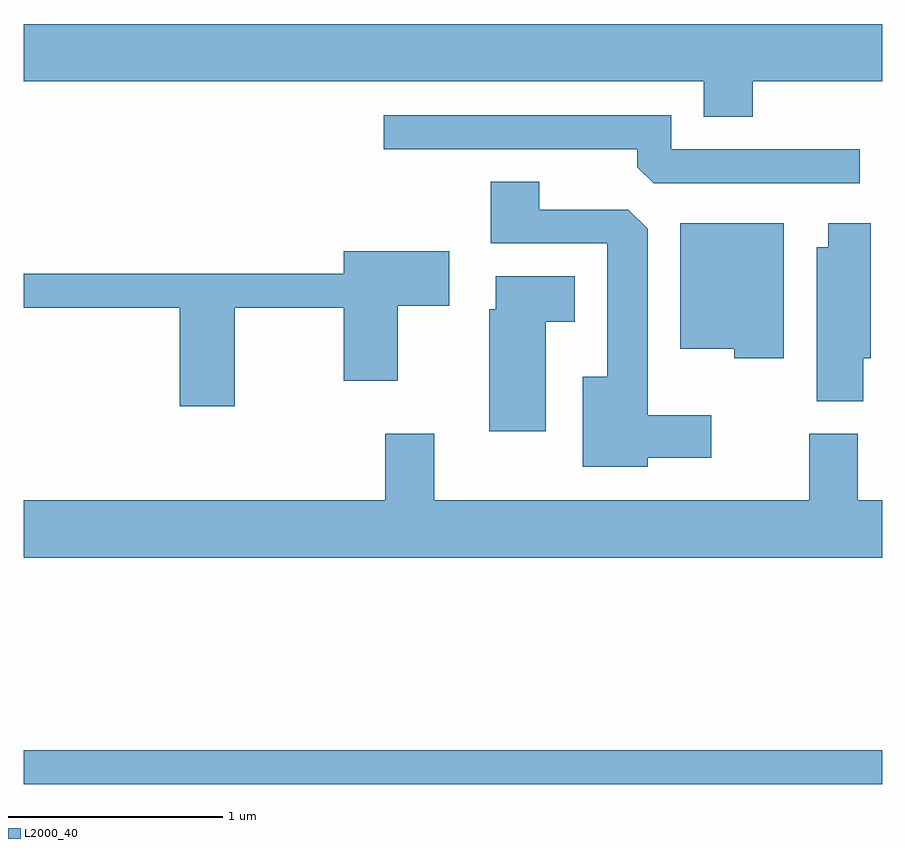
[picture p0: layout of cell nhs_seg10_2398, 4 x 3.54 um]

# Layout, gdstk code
import gdstk
lib = gdstk.Library(unit=1e-6, precision=1e-09)
def R(c, l, rs):  # rectangles x0, y0, x1, y1
    for r in rs: c.add(gdstk.rectangle(r[:2], r[2:], *l))
def P(c, l, *ps):  # polygons
    for p in ps: c.add(gdstk.Polygon(p, *l))
L2000_40 = (2000, 40)

nhs_seg10_2398 = lib.new_cell('nhs_seg10_2398')
R(nhs_seg10_2398, L2000_40, [(255.611,2130.621,259.611,2130.779)])
P(nhs_seg10_2398, L2000_40, [(259.009,2133.896),(259.611,2133.896),(259.611,2134.164),(255.611,2134.164),(255.611,2133.896),(258.781,2133.896),(258.781,2133.731),(259.009,2133.731)],
  [(259.508,2133.579),(258.629,2133.579),(258.629,2133.739),(257.288,2133.739),(257.288,2133.581),(258.471,2133.581),(258.471,2133.497),(258.546,2133.421),(259.508,2133.421)],
  [(258.519,2132.141),(258.814,2132.141),(258.814,2132.339),(258.519,2132.339),(258.519,2133.209),(258.429,2133.299),(258.014,2133.299),(258.014,2133.429),(257.786,2133.429),(257.786,2133.141),(258.331,2133.141),(258.331,2132.519),(258.216,2132.519),(258.216,2132.101),(258.519,2132.101)],
  [(259.154,2133.234),(258.671,2133.234),(258.671,2132.651),(258.921,2132.651),(258.921,2132.606),(259.154,2132.606)],
  [(259.524,2132.606),(259.559,2132.606),(259.559,2133.234),(259.361,2133.234),(259.361,2133.124),(259.306,2133.124),(259.306,2132.406),(259.524,2132.406)],
  [(256.594,2132.841),(257.101,2132.841),(257.101,2132.501),(257.354,2132.501),(257.354,2132.851),(257.594,2132.851),(257.594,2133.104),(257.101,2133.104),(257.101,2132.999),(255.611,2132.999),(255.611,2132.841),(256.336,2132.841),(256.336,2132.381),(256.594,2132.381)],
  [(258.044,2132.776),(258.179,2132.776),(258.179,2132.989),(257.811,2132.989),(257.811,2132.834),(257.781,2132.834),(257.781,2132.266),(258.044,2132.266)],
  [(259.611,2131.944),(259.499,2131.944),(259.499,2132.254),(259.271,2132.254),(259.271,2131.944),(257.524,2131.944),(257.524,2132.254),(257.296,2132.254),(257.296,2131.944),(255.611,2131.944),(255.611,2131.676),(259.611,2131.676)])

lib.write_gds('nhs_seg10_2398.gds')
